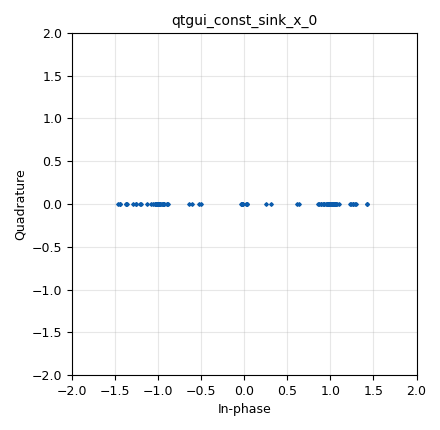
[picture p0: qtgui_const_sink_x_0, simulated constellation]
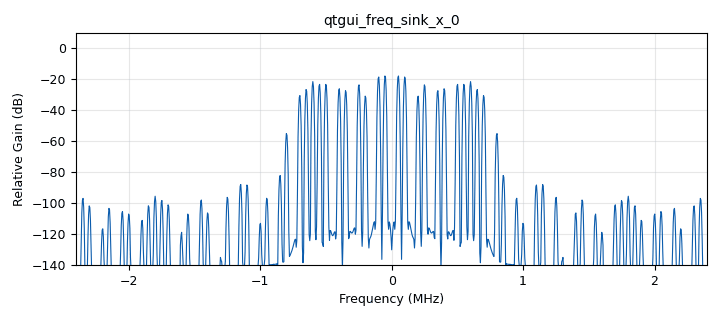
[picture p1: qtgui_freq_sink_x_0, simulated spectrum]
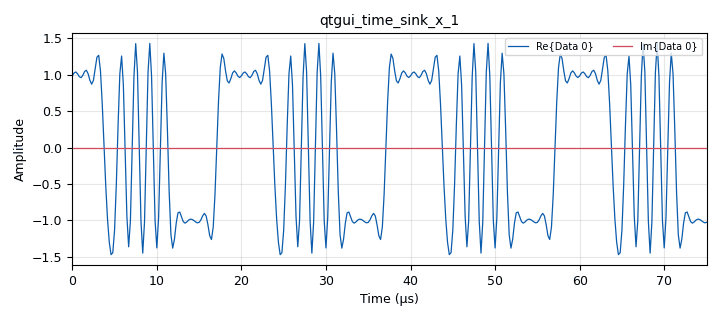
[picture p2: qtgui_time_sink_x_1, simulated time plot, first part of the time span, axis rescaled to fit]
options:
  parameters:
    category: Custom
    generate_options: qt_gui
    id: bpsk_tx
    output_language: python
  states: {}

blocks:
- name: arity
  id: variable
  parameters:
    value: '2'
  states: {}
- name: bpsk
  id: variable_constellation_rect
  parameters:
    const_points: '[-1,1]'
    imag_sect: '2'
    real_sect: '2'
    rot_sym: '4'
    sym_map: '[0, 1]'
    w_imag_sect: '1'
    w_real_sect: '1'
  states: {}
- name: bytes_per_chunk
  id: variable
  parameters:
    value: '8'
  states: {}
- name: excess_bw
  id: variable
  parameters:
    value: '0.35'
  states: {}
- name: rf_freq
  id: variable
  parameters:
    value: 2480e6
  states: {}
- name: rf_gain
  id: variable_qtgui_range
  parameters:
    label: RF Gain
    start: '0'
    step: '1'
    stop: '100'
    value: '50'
  states: {}
- name: rf_samp_rate
  id: variable
  parameters:
    value: samp_rate * bytes_per_chunk * sps
  states: {}
- name: samp_rate
  id: variable
  parameters:
    value: 150e3
  states: {}
- name: sps
  id: variable
  parameters:
    value: '4'
  states: {}
- name: taps
  id: variable
  parameters:
    value: '[1.0 + 0.0j, ]'
  states: {state: disabled}
- name: taps
  id: variable
  parameters:
    value: '[1.0, 0.25-0.25j, 0.50 + 0.10j, -0.3 + 0.2j]'
  states: {state: disabled}
- name: analog_random_source_x_0
  id: analog_random_source_x
  parameters:
    max: '256'
    min: '0'
    num_samps: '1000'
    repeat: 'True'
    type: byte
  states: {state: disabled}
- name: bladeRF_sink_0
  id: bladeRF_sink
  parameters:
    bias_tee0: 'False'
    bias_tee1: 'False'
    bw: rf_samp_rate
    dac: '10000'
    dc_calibration: LPF_TUNING
    device_id: '0'
    fpga_image: ''
    fpga_reload: 'False'
    freq: rf_freq
    gain0: rf_gain
    gain1: '10'
    if_gain0: '20'
    if_gain1: '20'
    in_clk: ONBOARD
    lpf_mode: disabled
    metadata: 'False'
    nchan: '1'
    out_clk: 'False'
    ref_clk: 10e6
    sample_rate: rf_samp_rate
    sampling: internal
    show_pmic: 'False'
    smb: '0'
    tamer: internal
    trigger0: 'False'
    trigger1: 'False'
    trigger_role0: master
    trigger_role1: master
    trigger_signal0: J51_1
    trigger_signal1: J51_1
    use_dac: 'False'
    use_ref_clk: 'False'
    verbosity: debug
    xb200: none
  states: {}
- name: blocks_multiply_const_vxx_0
  id: blocks_multiply_const_vxx
  parameters:
    const: '.25'
    type: complex
  states: {}
- name: blocks_vector_source_x_0
  id: blocks_vector_source_x
  parameters:
    repeat: 'True'
    type: byte
    vector: '[0x55, 0x01,0xfe]'
  states: {}
- name: digital_constellation_modulator_0
  id: digital_constellation_modulator
  parameters:
    constellation: bpsk
    differential: 'False'
    excess_bw: excess_bw
    samples_per_symbol: sps
  states: {}
- name: qtgui_const_sink_x_0
  id: qtgui_const_sink_x
  parameters:
    size: '1024'
    type: complex
  states: {}
- name: qtgui_freq_sink_x_0
  id: qtgui_freq_sink_x
  parameters:
    bw: rf_samp_rate
    fc: '0'
    fftsize: '1024'
    type: complex
  states: {}
- name: qtgui_time_sink_x_1
  id: qtgui_time_sink_x
  parameters:
    size: '1024'
    srate: rf_samp_rate
    type: complex
  states: {}

connections:
- [analog_random_source_x_0, '0', digital_constellation_modulator_0, '0']
- [blocks_multiply_const_vxx_0, '0', bladeRF_sink_0, '0']
- [blocks_vector_source_x_0, '0', digital_constellation_modulator_0, '0']
- [digital_constellation_modulator_0, '0', blocks_multiply_const_vxx_0, '0']
- [digital_constellation_modulator_0, '0', qtgui_const_sink_x_0, '0']
- [digital_constellation_modulator_0, '0', qtgui_freq_sink_x_0, '0']
- [digital_constellation_modulator_0, '0', qtgui_time_sink_x_1, '0']

metadata:
  file_format: 1
  grc_version: 3.10.5.1
